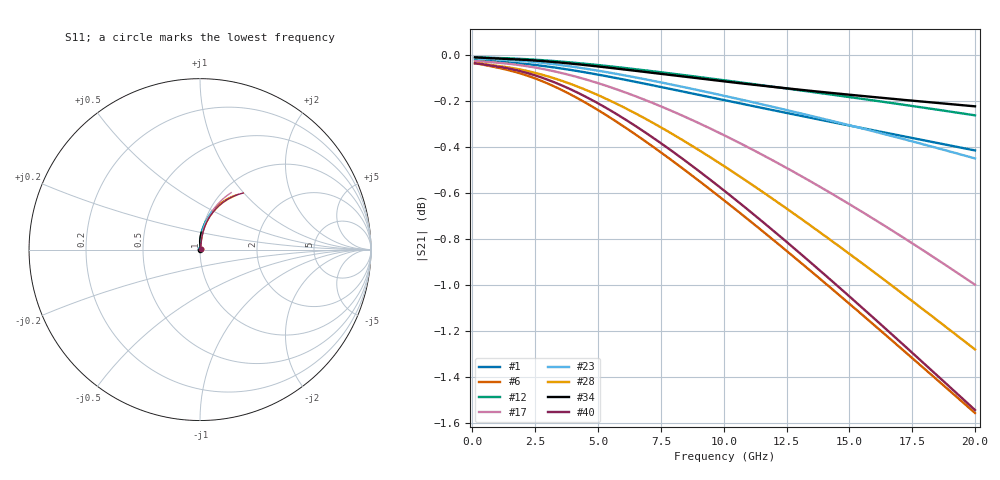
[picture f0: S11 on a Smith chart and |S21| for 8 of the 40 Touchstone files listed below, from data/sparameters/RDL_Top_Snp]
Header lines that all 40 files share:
! Touchstone file exported from HFSS 2024.1.0
!  Design:  RDL_top
!  Setup:  Setup1
!  Solution:  Sweep
! Variables:
# GHz S MA R 50.000000
! Terminal data exported
! Port[1] = Box2_T1
! Port[2] = Box2_T2
Fixed: dtsv = 10.80580581um, hbump = 3um, ldown = 100um, p = 40, rhole = 1um, t = 450um, tdown = 3.915915916um, wdown = 15.38538539um
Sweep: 100 MHz to 20 GHz
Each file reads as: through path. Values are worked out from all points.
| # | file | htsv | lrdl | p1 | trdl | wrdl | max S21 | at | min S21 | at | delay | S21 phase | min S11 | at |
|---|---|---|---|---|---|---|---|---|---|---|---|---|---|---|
| 1 | dut1.s2p | 74.27um | 250.82um | 41.05um | 2.09um | 24.19um | -0.02 dB | 100 MHz | -0.4 dB | 20 GHz | 2.47 ps | -10 deg at 10.1 GHz | -52.7 dB | 100 MHz |
| 2 | dut3.s2p | 95.61um | 413.96um | 50.18um | 3.24um | 12.39um | -0.03 dB | 100 MHz | -1.2 dB | 20 GHz | 4.81 ps | -19 deg at 10.1 GHz | -47.0 dB | 100 MHz |
| 3 | dut5.s2p | 78.63um | 231.45um | 51.49um | 4.05um | 23.12um | -0.01 dB | 100 MHz | -0.4 dB | 20 GHz | 2.52 ps | -10 deg at 10.1 GHz | -57.0 dB | 100 MHz |
| 4 | dut21.s2p | 58.68um | 398.93um | 57.74um | 2.07um | 17.2um | -0.04 dB | 100 MHz | -1.2 dB | 20 GHz | 4.77 ps | -19 deg at 10.1 GHz | -46.4 dB | 100 MHz |
| 5 | dut24.s2p | 53.6um | 266.81um | 48.59um | 2.84um | 27.21um | -0.01 dB | 100 MHz | -0.5 dB | 20 GHz | 2.67 ps | -11 deg at 10.1 GHz | -55.2 dB | 100 MHz |
| 6 | dut29.s2p | 86.29um | 565.76um | 57.34um | 2.15um | 24.7um | -0.04 dB | 100 MHz | -1.6 dB | 20 GHz | 5.89 ps | -24 deg at 10.1 GHz | -46.7 dB | 100 MHz |
| 7 | dut30.s2p | 79.12um | 639.81um | 43.84um | 3.96um | 11.31um | -0.04 dB | 100 MHz | -1.9 dB | 20 GHz | 6.47 ps | -26 deg at 10.1 GHz | -44.4 dB | 100 MHz |
| 8 | dut32.s2p | 77.51um | 397.4um | 48.1um | 4.2um | 13.76um | -0.02 dB | 100 MHz | -1.0 dB | 20 GHz | 4.36 ps | -17 deg at 10.1 GHz | -49.8 dB | 100 MHz |
| 9 | dut43.s2p | 99.99um | 667.44um | 41.39um | 4.03um | 20.26um | -0.03 dB | 100 MHz | -1.4 dB | 20 GHz | 6 ps | -24 deg at 10.1 GHz | -48.8 dB | 100 MHz |
| 10 | dut54.s2p | 61.1um | 693.15um | 55.35um | 4.98um | 14.21um | -0.03 dB | 100 MHz | -2.2 dB | 20 GHz | 7.02 ps | -29 deg at 10.1 GHz | -46.2 dB | 100 MHz |
| 11 | dut60.s2p | 70.57um | 262.44um | 46.62um | 4.25um | 28.45um | -0.01 dB | 100 MHz | -0.4 dB | 20 GHz | 2.42 ps | -10 deg at 10.1 GHz | -58.6 dB | 100 MHz |
| 12 | dut61.s2p | 84.22um | 135.75um | 51.73um | 3.39um | 17.52um | -0.01 dB | 100 MHz | -0.3 dB | 20 GHz | 1.84 ps | -7 deg at 10.1 GHz | -57.6 dB | 100 MHz |
| 13 | dut63.s2p | 92.89um | 354.38um | 45.25um | 3.9um | 26.33um | -0.01 dB | 100 MHz | -0.6 dB | 20 GHz | 3.26 ps | -13 deg at 10.1 GHz | -55.4 dB | 100 MHz |
| 14 | dut71.s2p | 71.48um | 223.43um | 46.05um | 3.21um | 22.61um | -0.01 dB | 100 MHz | -0.4 dB | 20 GHz | 2.36 ps | -9 deg at 10.1 GHz | -56.0 dB | 100 MHz |
| 15 | dut77.s2p | 79.93um | 160.91um | 54.22um | 3.21um | 22.25um | -0.01 dB | 100 MHz | -0.3 dB | 20 GHz | 2.03 ps | -8 deg at 10.1 GHz | -57.5 dB | 100 MHz |
| 16 | dut83.s2p | 86.4um | 678.93um | 41.13um | 2.38um | 21.87um | -0.04 dB | 100 MHz | -1.5 dB | 20 GHz | 6.19 ps | -25 deg at 10.1 GHz | -45.5 dB | 100 MHz |
| 17 | dut85.s2p | 99.83um | 352.61um | 51.16um | 3.8um | 11.39um | -0.03 dB | 100 MHz | -1.0 dB | 20 GHz | 4.24 ps | -17 deg at 10.1 GHz | -48.7 dB | 100 MHz |
| 18 | dut92.s2p | 64.12um | 381.51um | 57.56um | 3.84um | 24.22um | -0.01 dB | 100 MHz | -0.9 dB | 20 GHz | 4.05 ps | -16 deg at 10.1 GHz | -53.1 dB | 100 MHz |
| 19 | dut97.s2p | 55.61um | 103.52um | 59.02um | 3.12um | 28.98um | -0.01 dB | 100 MHz | -0.2 dB | 20 GHz | 1.41 ps | -5 deg at 10.1 GHz | -61.0 dB | 100 MHz |
| 20 | dut101.s2p | 61.72um | 575.24um | 58.15um | 2.48um | 24.44um | -0.03 dB | 100 MHz | -1.6 dB | 20 GHz | 5.91 ps | -24 deg at 10.1 GHz | -47.5 dB | 100 MHz |
| 21 | dut102.s2p | 93.51um | 394.88um | 40.32um | 4.09um | 10.37um | -0.03 dB | 100 MHz | -1.0 dB | 20 GHz | 4.27 ps | -17 deg at 10.1 GHz | -48.1 dB | 100 MHz |
| 22 | dut103.s2p | 73.98um | 311.84um | 55.22um | 2.16um | 23.69um | -0.02 dB | 100 MHz | -0.7 dB | 20 GHz | 3.54 ps | -14 deg at 10.1 GHz | -50.9 dB | 100 MHz |
| 23 | dut104.s2p | 53.27um | 232.68um | 44.32um | 4.1um | 14.17um | -0.01 dB | 100 MHz | -0.4 dB | 20 GHz | 2.65 ps | -10 deg at 10.1 GHz | -54.1 dB | 100 MHz |
| 24 | dut107.s2p | 93.32um | 678.12um | 54.78um | 3.11um | 26.04um | -0.03 dB | 100 MHz | -1.7 dB | 20 GHz | 6.54 ps | -27 deg at 10.1 GHz | -48.4 dB | 100 MHz |
| 25 | dut123.s2p | 98.36um | 308.04um | 40.29um | 2.51um | 12.88um | -0.03 dB | 100 MHz | -0.7 dB | 20 GHz | 3.49 ps | -13 deg at 10.1 GHz | -48.1 dB | 100 MHz |
| 26 | dut128.s2p | 84.28um | 368.77um | 44.85um | 3.69um | 23.87um | -0.01 dB | 100 MHz | -0.7 dB | 20 GHz | 3.5 ps | -14 deg at 10.1 GHz | -53.9 dB | 100 MHz |
| 27 | dut129.s2p | 64.83um | 441.08um | 40.15um | 3.7um | 11.22um | -0.03 dB | 100 MHz | -1.1 dB | 20 GHz | 4.65 ps | -18 deg at 10.1 GHz | -47.1 dB | 100 MHz |
| 28 | dut139.s2p | 97.1um | 535.22um | 43.03um | 3.04um | 16.86um | -0.03 dB | 100 MHz | -1.3 dB | 20 GHz | 5.34 ps | -21 deg at 10.1 GHz | -47.1 dB | 100 MHz |
| 29 | dut142.s2p | 86.08um | 150.88um | 54.4um | 3.13um | 11.86um | -0.01 dB | 100 MHz | -0.4 dB | 20 GHz | 2.27 ps | -9 deg at 10.1 GHz | -54.0 dB | 100 MHz |
| 30 | dut144.s2p | 53.62um | 566.94um | 42.94um | 4.75um | 21.89um | -0.02 dB | 100 MHz | -1.1 dB | 20 GHz | 5.02 ps | -20 deg at 10.1 GHz | -51.7 dB | 100 MHz |
| 31 | dut145.s2p | 78.11um | 673.72um | 41.87um | 2.22um | 27.44um | -0.04 dB | 100 MHz | -1.3 dB | 20 GHz | 5.79 ps | -23 deg at 10.1 GHz | -47.0 dB | 100 MHz |
| 32 | dut146.s2p | 92.41um | 277.18um | 40.77um | 2.4um | 28.49um | -0.02 dB | 100 MHz | -0.4 dB | 20 GHz | 2.46 ps | -10 deg at 10.1 GHz | -54.3 dB | 100 MHz |
| 33 | dut151.s2p | 74.46um | 599.81um | 47.11um | 3.18um | 23.77um | -0.03 dB | 100 MHz | -1.3 dB | 20 GHz | 5.63 ps | -23 deg at 10.1 GHz | -49.1 dB | 100 MHz |
| 34 | dut158.s2p | 98.76um | 143.1um | 42.99um | 2.61um | 26.76um | -0.01 dB | 100 MHz | -0.2 dB | 20 GHz | 1.48 ps | -6 deg at 10.1 GHz | -58.6 dB | 100 MHz |
| 35 | dut160.s2p | 89.49um | 305.09um | 46.41um | 3.04um | 10.5um | -0.03 dB | 100 MHz | -0.8 dB | 20 GHz | 3.77 ps | -15 deg at 10.1 GHz | -48.0 dB | 100 MHz |
| 36 | dut161.s2p | 78.25um | 471.08um | 58.15um | 2.43um | 15.21um | -0.04 dB | 100 MHz | -1.6 dB | 20 GHz | 5.54 ps | -22 deg at 10.1 GHz | -45.4 dB | 100 MHz |
| 37 | dut164.s2p | 94.29um | 361.23um | 59.1um | 3.35um | 23.07um | -0.02 dB | 100 MHz | -0.9 dB | 20 GHz | 4.04 ps | -16 deg at 10.1 GHz | -52.3 dB | 100 MHz |
| 38 | dut168.s2p | 75.31um | 326.63um | 54.25um | 4.87um | 12.68um | -0.02 dB | 100 MHz | -0.9 dB | 20 GHz | 3.89 ps | -15 deg at 10.1 GHz | -51.3 dB | 100 MHz |
| 39 | dut169.s2p | 56.35um | 424.4um | 45.91um | 3.4um | 13.37um | -0.03 dB | 100 MHz | -1.1 dB | 20 GHz | 4.64 ps | -18 deg at 10.1 GHz | -47.8 dB | 100 MHz |
| 40 | dut171.s2p | 56.21um | 604.38um | 44.84um | 3.21um | 17.24um | -0.04 dB | 100 MHz | -1.5 dB | 20 GHz | 5.93 ps | -24 deg at 10.1 GHz | -46.6 dB | 100 MHz |
